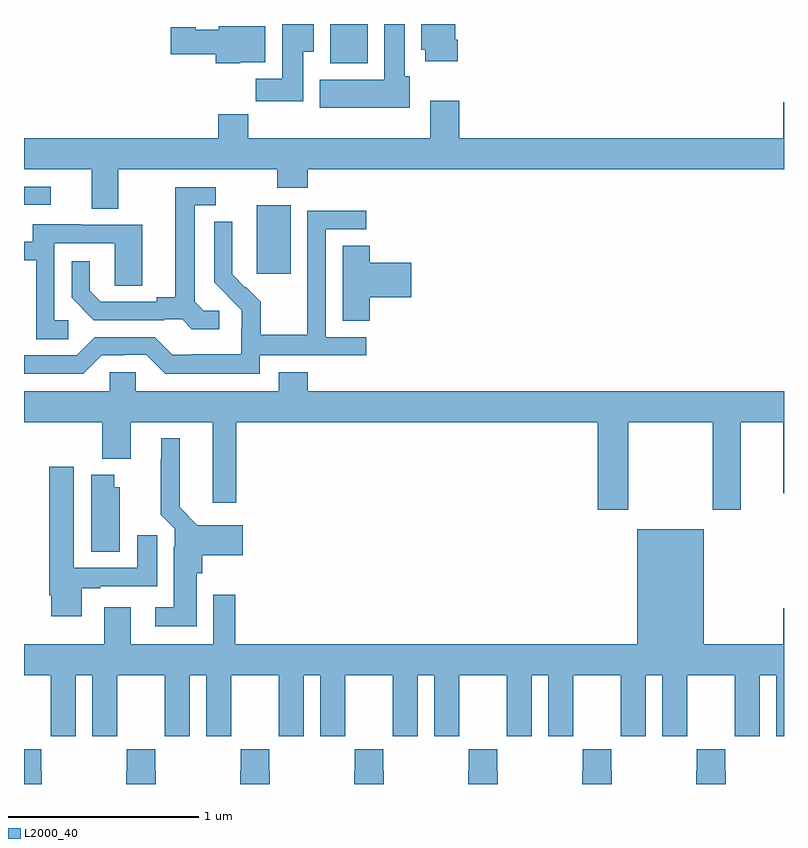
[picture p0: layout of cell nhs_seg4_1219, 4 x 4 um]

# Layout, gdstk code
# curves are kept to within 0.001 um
import gdstk
lib = gdstk.Library(unit=1e-6, precision=1e-09)
def R(c, l, rs):  # rectangles x0, y0, x1, y1
    for r in rs: c.add(gdstk.rectangle(r[:2], r[2:], *l))
def P(c, l, *ps):  # polygons
    for p in ps: c.add(gdstk.Polygon(p, *l))
L2000_40 = (2000, 40)

nhs_seg4_1219 = lib.new_cell('nhs_seg4_1219')
R(nhs_seg4_1219, L2000_40, [(174.224,813.585,174.403,813.946), (173,813.948,173.14,814.044), (174.611,814.694,174.808,814.9)])
P(nhs_seg4_1219, L2000_40, [(174.469,814.753),(174.526,814.753),(174.526,814.9),(174.359,814.9),(174.359,814.612),(174.22,814.612),(174.22,814.494),(174.469,814.494)],
  [(175.03,814.626),(175.003,814.626),(175.003,814.9),(174.896,814.9),(174.896,814.606),(174.557,814.606),(174.557,814.46),(175.03,814.46)],
  [(175.283,814.816),(175.27,814.816),(175.27,814.9),(175.091,814.9),(175.091,814.764),(175.112,814.764),(175.112,814.704),(175.283,814.704)],
  [(174.138,814.7),(174.271,814.7),(174.271,814.888),(174.024,814.888),(174.024,814.87),(173.904,814.87),(173.904,814.883),(173.772,814.883),(173.772,814.741),(174.008,814.741),(174.008,814.694),(174.138,814.694)],
  [(173.497,814.136),(174.334,814.136),(174.334,814.037),(174.494,814.037),(174.494,814.136),(177,814.136),(177,814.489),(176.996,814.489),(176.996,814.3),(175.292,814.3),(175.292,814.495),(175.139,814.495),(175.139,814.3),(174.179,814.3),(174.179,814.424),(174.023,814.424),(174.023,814.3),(173,814.3),(173,814.136),(173.357,814.136),(173.357,813.928),(173.497,813.928)],
  [(174.028,813.39),(173.946,813.39),(173.899,813.437),(173.899,813.945),(174.01,813.945),(174.01,814.041),(173.795,814.041),(173.795,813.461),(173.699,813.461),(173.699,813.438),(173.404,813.438),(173.347,813.495),(173.347,813.652),(173.25,813.652),(173.25,813.458),(173.366,813.342),(173.738,813.342),(173.738,813.345),(173.832,813.345),(173.884,813.293),(174.028,813.293)],
  [(174.24,813.156),(174.802,813.156),(174.802,813.252),(174.588,813.252),(174.588,813.819),(174.802,813.819),(174.802,813.918),(174.492,813.918),(174.492,813.488),(174.49,813.488),(174.49,813.265),(174.245,813.265),(174.245,813.439),(174.168,813.516),(174.165,813.513),(174.095,813.584),(174.096,813.86),(174,813.86),(174,813.542),(174.146,813.394),(174.146,813.297),(174.144,813.297),(174.144,813.163),(173.881,813.163),(173.881,813.159),(173.781,813.159),(173.688,813.252),(173.373,813.252),(173.277,813.156),(173,813.156),(173,813.06),(173.313,813.06),(173.409,813.156),(173.528,813.156),(173.528,813.159),(173.643,813.159),(173.743,813.059),(174.24,813.059)],
  [(173.233,813.342),(173.16,813.342),(173.16,813.747),(173.478,813.747),(173.478,813.523),(173.623,813.523),(173.623,813.843),(173.299,813.843),(173.299,813.847),(173.045,813.847),(173.045,813.753),(173,813.753),(173,813.657),(173.064,813.657),(173.064,813.241),(173.233,813.241)],
  [(174.821,813.461),(175.039,813.461),(175.039,813.644),(174.821,813.644),(174.821,813.734),(174.677,813.734),(174.677,813.337),(174.821,813.337)],
  [(176.181,812.804),(176.626,812.804),(176.626,812.343),(176.773,812.343),(176.773,812.804),(176.996,812.804),(176.996,812.43),(177,812.43),(177,812.968),(174.494,812.968),(174.494,813.067),(174.341,813.067),(174.341,812.968),(173.589,812.968),(173.589,813.066),(173.451,813.066),(173.451,812.968),(173,812.968),(173,812.804),(173.411,812.804),(173.411,812.612),(173.563,812.612),(173.563,812.804),(173.993,812.804),(173.993,812.379),(174.116,812.379),(174.116,812.804),(176.021,812.804),(176.021,812.343),(176.181,812.343)],
  [(173.908,812.01),(173.939,812.01),(173.939,812.105),(174.151,812.105),(174.151,812.263),(173.913,812.263),(173.821,812.356),(173.821,812.719),(173.723,812.719),(173.723,812.609),(173.719,812.609),(173.719,812.318),(173.793,812.244),(173.793,812.15),(173.789,812.15),(173.789,811.831),(173.691,811.831),(173.691,811.73),(173.908,811.73)],
  [(173.305,811.929),(173.401,811.929),(173.401,811.941),(173.701,811.941),(173.701,812.209),(173.597,812.209),(173.597,812.037),(173.263,812.037),(173.263,812.569),(173.132,812.569),(173.132,811.894),(173.144,811.894),(173.144,811.782),(173.305,811.782)],
  [(173.503,812.463),(173.476,812.463),(173.476,812.527),(173.354,812.527),(173.354,812.122),(173.503,812.122)],
  [(173.272,811.472),(173.36,811.472),(173.36,811.152),(173.49,811.152),(173.49,811.264),(173.491,811.264),(173.491,811.472),(173.741,811.472),(173.741,811.264),(173.742,811.264),(173.742,811.152),(173.872,811.152),(173.872,811.472),(173.96,811.472),(173.96,811.152),(174.09,811.152),(174.09,811.264),(174.091,811.264),(174.091,811.472),(174.341,811.472),(174.341,811.264),(174.342,811.264),(174.342,811.152),(174.472,811.152),(174.472,811.472),(174.56,811.472),(174.56,811.152),(174.69,811.152),(174.69,811.264),(174.691,811.264),(174.691,811.472),(174.941,811.472),(174.941,811.264),(174.942,811.264),(174.942,811.152),(175.072,811.152),(175.072,811.472),(175.16,811.472),(175.16,811.152),(175.29,811.152),(175.29,811.264),(175.291,811.264),(175.291,811.472),(175.541,811.472),(175.541,811.264),(175.542,811.264),(175.542,811.152),(175.672,811.152),(175.672,811.472),(175.76,811.472),(175.76,811.152),(175.89,811.152),(175.89,811.264),(175.891,811.264),(175.891,811.472),(176.141,811.472),(176.141,811.264),(176.142,811.264),(176.142,811.152),(176.272,811.152),(176.272,811.472),(176.36,811.472),(176.36,811.152),(176.49,811.152),(176.49,811.264),(176.491,811.264),(176.491,811.472),(176.741,811.472),(176.741,811.264),(176.742,811.264),(176.742,811.152),(176.872,811.152),(176.872,811.472),(176.96,811.472),(176.96,811.152),(177,811.152),(177,811.825),(176.996,811.825),(176.996,811.636),(176.578,811.636),(176.578,812.242),(176.228,812.242),(176.228,811.636),(174.113,811.636),(174.113,811.897),(173.997,811.897),(173.997,811.636),(173.563,811.636),(173.563,811.831),(173.423,811.831),(173.423,811.636),(173,811.636),(173,811.472),(173.141,811.472),(173.141,811.264),(173.142,811.264),(173.142,811.152),(173.272,811.152)],
  [(173.694,810.971),(173.691,810.971),(173.691,811.084),(173.541,811.084),(173.541,810.971),(173.539,810.971),(173.539,810.9),(173.694,810.9)],
  [(174.294,810.971),(174.291,810.971),(174.291,811.084),(174.141,811.084),(174.141,810.971),(174.139,810.971),(174.139,810.9),(174.294,810.9)],
  [(174.894,810.971),(174.891,810.971),(174.891,811.084),(174.741,811.084),(174.741,810.971),(174.739,810.971),(174.739,810.9),(174.894,810.9)],
  [(175.494,810.971),(175.491,810.971),(175.491,811.084),(175.341,811.084),(175.341,810.971),(175.339,810.971),(175.339,810.9),(175.494,810.9)],
  [(176.094,810.971),(176.091,810.971),(176.091,811.084),(175.941,811.084),(175.941,810.971),(175.939,810.971),(175.939,810.9),(176.094,810.9)],
  [(176.694,810.971),(176.691,810.971),(176.691,811.084),(176.541,811.084),(176.541,810.971),(176.539,810.971),(176.539,810.9),(176.694,810.9)],
  [(173.094,810.971),(173.091,810.971),(173.091,811.084),(173,811.084),(173,810.9),(173.094,810.9)])

lib.write_gds('nhs_seg4_1219.gds')
